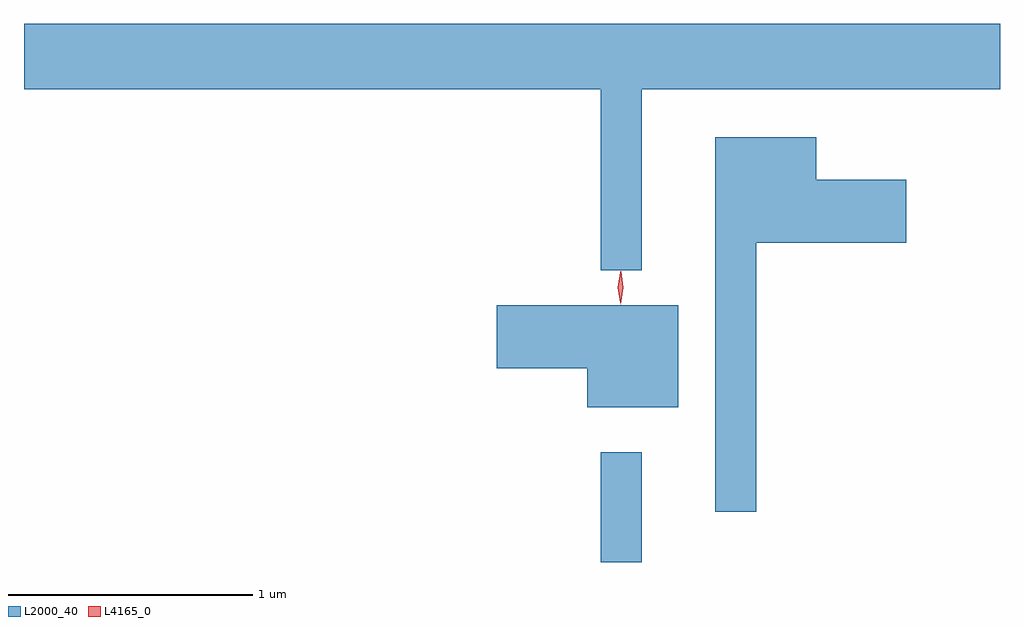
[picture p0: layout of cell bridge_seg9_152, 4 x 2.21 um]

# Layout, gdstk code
import gdstk
lib = gdstk.Library(unit=1e-6, precision=1e-09)
def R(c, l, rs):  # rectangles x0, y0, x1, y1
    for r in rs: c.add(gdstk.rectangle(r[:2], r[2:], *l))
def P(c, l, *ps):  # polygons
    for p in ps: c.add(gdstk.Polygon(p, *l))
L2000_40 = (2000, 40)
L4165_0 = (4165, 0)

bridge_seg9_152 = lib.new_cell('bridge_seg9_152')
R(bridge_seg9_152, L2000_40, [(1442.641,2023.176,1442.809,2023.628)])
P(bridge_seg9_152, L2000_40, [(1442.809,2025.116),(1444.278,2025.116),(1444.278,2025.384),(1440.278,2025.384),(1440.278,2025.116),(1442.641,2025.116),(1442.641,2024.373),(1442.809,2024.373)],
  [(1443.279,2024.486),(1443.894,2024.486),(1443.894,2024.744),(1443.524,2024.744),(1443.524,2024.919),(1443.111,2024.919),(1443.111,2023.383),(1443.279,2023.383)],
  [(1442.959,2024.229),(1442.216,2024.229),(1442.216,2023.971),(1442.586,2023.971),(1442.586,2023.811),(1442.959,2023.811)])
P(bridge_seg9_152, L4165_0, [(1442.723,2024.234),(1442.723,2024.234),(1442.714,2024.302),(1442.724,2024.37),(1442.725,2024.37),(1442.725,2024.37),(1442.734,2024.302),(1442.724,2024.234)],
  [(1442.721,2024.24),(1442.712,2024.303),(1442.721,2024.366),(1442.722,2024.367),(1442.722,2024.366),(1442.732,2024.303),(1442.722,2024.24),(1442.722,2024.24)])

lib.write_gds('bridge_seg9_152.gds')
